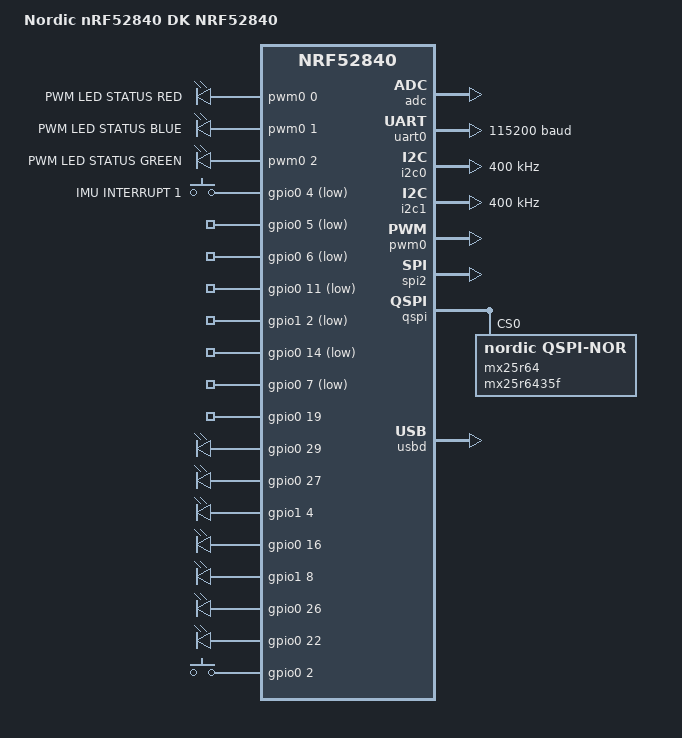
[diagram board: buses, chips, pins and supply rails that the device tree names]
/*
 * Copyright (c) 2017 Linaro Limited
 *
 * SPDX-License-Identifier: Apache-2.0
 */

/dts-v1/;
#include <nordic/nrf52840_qiaa.dtsi>
#include "nrf52840dk_nrf52840-pinctrl.dtsi"
#include <zephyr/dt-bindings/input/input-event-codes.h>

/ {
	model = "Nordic nRF52840 DK NRF52840";
	compatible = "nordic,nrf52840-dk-nrf52840";

	chosen {
		zephyr,console = &uart0;
		zephyr,shell-uart = &uart0;
		zephyr,uart-mcumgr = &uart0;
		zephyr,bt-mon-uart = &uart0;
		zephyr,bt-c2h-uart = &uart0;
		zephyr,sram = &sram0;
		zephyr,flash = &flash0;
		zephyr,code-partition = &slot0_partition;
		zephyr,ieee802154 = &ieee802154;
	};

	pwmleds {
		compatible = "pwm-leds";
		pwm_led0: pwm_led0 {
			pwms = <&pwm0 0 PWM_KHZ(10) PWM_POLARITY_NORMAL>;
			label = "PWM LED STATUS RED";
		};

		pwm_led1: pwm_led1 {
			pwms = <&pwm0 1 PWM_KHZ(10) PWM_POLARITY_NORMAL>;
			label = "PWM LED STATUS BLUE";
		};

		pwm_led2: pwm_led2 {
			pwms = <&pwm0 2 PWM_KHZ(10) PWM_POLARITY_NORMAL>;
			label = "PWM LED STATUS GREEN";
		};
	};

	interrupts {
		compatible = "gpio-keys";

		imu_int_1: imu_int_1 {
			gpios =  <&gpio0 4 (GPIO_PULL_UP | GPIO_ACTIVE_LOW)>;
			label = "IMU INTERRUPT 1";
		};

		body_temp_1_alert: body_temp_1_alert {
			gpios =  <&gpio0 5 (GPIO_PULL_UP | GPIO_ACTIVE_LOW)>;
			label = "";
		};

		body_temp_2_alert: body_temp_2_alert {
			gpios =  <&gpio0 6 (GPIO_PULL_UP | GPIO_ACTIVE_LOW)>;
			label = "";
		};

		body_temp_3_alert: body_temp_3_alert {
			gpios =  <&gpio0 11 (GPIO_PULL_UP | GPIO_ACTIVE_LOW)>;
			label = "";
		};

		body_temp_4_alert: body_temp_4_alert {
			gpios =  <&gpio1 2 (GPIO_PULL_UP | GPIO_ACTIVE_LOW)>;
			label = "";
		};

		amb_temp_alert: amb_temp_alert {
			gpios =  <&gpio0 14 (GPIO_PULL_UP | GPIO_ACTIVE_LOW)>;
			label = "";
		};

		ppg_int: ppg_int {
			gpios =  <&gpio0 7 (GPIO_PULL_UP | GPIO_ACTIVE_LOW)>;
			label = "";
		};

		charge_pgood: charge_pgood {
			gpios =  <&gpio0 19 (GPIO_PULL_UP | GPIO_ACTIVE_HIGH)>;
			label = "";
		};
	};

	misc_pin{
		compatible = "gpio-leds";
		
		mcu_pwr_en: mcu_pwr_en {
			gpios =  <&gpio0 29 GPIO_ACTIVE_HIGH>;
			label = "";
		};

		system_pwr_en: system_pwr_en {
			gpios =  <&gpio0 27 GPIO_ACTIVE_HIGH>;
			label = "";
		};

		sensor_pwr_en: sensor_pwr_en {
			gpios =  <&gpio1 4 GPIO_ACTIVE_HIGH>;
			label = "";
		};

		i2c_buffer_en: i2c_buffer_en {
			gpios =  <&gpio0 16 GPIO_ACTIVE_HIGH>;
			label = "";
		};

		logic_ser_pwr_en: logic_ser_pwr_en {
			gpios =  <&gpio1 8 GPIO_ACTIVE_HIGH>;
			label = "";
		};

		oled_pwr_en: oled_pwr_en {
			gpios =  <&gpio0 26 GPIO_ACTIVE_HIGH>;
			label = "";
		};

		ppg_spi_cs: ppg_spi_cs {
			gpios =  <&gpio0 22 GPIO_ACTIVE_HIGH>;
			label = "";
		};
	};

	buttons {
		compatible = "gpio-keys";
		button_pwr_switch_detect: button_pwr_switch_detect {
			gpios = <&gpio0 2 (GPIO_PULL_UP | GPIO_ACTIVE_HIGH)>;
			label = "";
		};
	};

	/* These aliases are provided for compatibility with samples */
	aliases {
		led-status-red   = &pwm_led0;
		led-status-green = &pwm_led1;
		led-status-blue  = &pwm_led2;

		button-pwr-switch-detect = &button_pwr_switch_detect;
		imu-int-1         = &imu_int_1;
		body-temp-1-alert = &body_temp_1_alert;
		body-temp-2-alert = &body_temp_2_alert;
		body-temp-3-alert = &body_temp_3_alert;
		body-temp-4-alert = &body_temp_4_alert;
		amb-temp-alert    = &amb_temp_alert;
		ppg-int           = &ppg_int;
		charge-pgood      = &charge_pgood;

		mcu-pwr-en       = &mcu_pwr_en;
		system-pwr-en    = &system_pwr_en;
		sensor-pwr-en    = &sensor_pwr_en ;
		i2c-buffer-en    = &i2c_buffer_en ;
		logic-ser-pwr-en = &logic_ser_pwr_en;
		oled-pwr-en      = &oled_pwr_en;
		ppg-spi-cs       = &ppg_spi_cs;
	};
};

&adc {
	status = "okay";
};

&uicr {
	gpio-as-nreset;
};

&gpiote {
	status = "okay";
};

&gpio0 {
	status = "okay";
};

&gpio1 {
	status = "okay";
};

&uart0 {
	compatible = "nordic,nrf-uarte";
	status = "okay";
	current-speed = <115200>;
	pinctrl-0 = <&uart0_default>;
	pinctrl-1 = <&uart0_sleep>;
	pinctrl-names = "default", "sleep";
};

&i2c0 {
	compatible = "nordic,nrf-twim";
	status = "okay";
	pinctrl-0 = <&i2c0_default>;
	pinctrl-1 = <&i2c0_sleep>;	
	pinctrl-names = "default", "sleep";
	clock-frequency = <I2C_BITRATE_FAST>;
	zephyr,concat-buf-size = <1024>;
};

&i2c1 {
	compatible = "nordic,nrf-twim";
	status = "okay";
	pinctrl-0 = <&i2c1_default>;
	pinctrl-1 = <&i2c1_sleep>;	
	pinctrl-names = "default", "sleep";
	clock-frequency = <I2C_BITRATE_FAST>;
	zephyr,concat-buf-size = <1024>;
};

&pwm0 {
	status = "okay";
	pinctrl-0 = <&pwm0_default>;
	pinctrl-1 = <&pwm0_sleep>;
	pinctrl-names = "default", "sleep";
};

&spi2 {
	compatible = "nordic,nrf-spi";
	status = "okay";
	pinctrl-0 = <&spi2_default>;
	pinctrl-1 = <&spi2_sleep>;
	pinctrl-names = "default", "sleep";
};

&qspi {
	status = "okay";
	pinctrl-0 = <&qspi_default>;
	pinctrl-1 = <&qspi_sleep>;
	pinctrl-names = "default", "sleep";
	mx25r64: mx25r6435f@0 {
		compatible = "nordic,qspi-nor";
		reg = <0>;
		/* MX25R64 supports only pp and pp4io */
		writeoc = "pp4io";
		/* MX25R64 supports all readoc options */
		readoc = "read4io";
		sck-frequency = <8000000>;
		jedec-id = [c2 28 17];
		sfdp-bfp = [
			e5 20 f1 ff  ff ff ff 03  44 eb 08 6b  08 3b 04 bb
			ee ff ff ff  ff ff 00 ff  ff ff 00 ff  0c 20 0f 52
			10 d8 00 ff  23 72 f5 00  82 ed 04 cc  44 83 68 44
			30 b0 30 b0  f7 c4 d5 5c  00 be 29 ff  f0 d0 ff ff
		];
		size = <67108864>;
		has-dpd;
		t-enter-dpd = <10000>;
		t-exit-dpd = <35000>;
	};
};

&flash0 {

	partitions {
		compatible = "fixed-partitions";
		#address-cells = <1>;
		#size-cells = <1>;

		boot_partition: partition@0 {
			label = "mcuboot";
			reg = <0x00000000 0x0000C000>;
		};
		slot0_partition: partition@c000 {
			label = "image-0";
			reg = <0x0000C000 0x00067000>;
		};
		slot1_partition: partition@73000 {
			label = "image-1";
			reg = <0x00073000 0x00067000>;
		};
		scratch_partition: partition@da000 {
			label = "image-scratch";
			reg = <0x000da000 0x0001e000>;
		};

		/*
		 * The flash starting at 0x000f8000 and ending at
		 * 0x000fffff is reserved for use by the application.
		 */

		/*
		 * Storage partition will be used by FCB/LittleFS/NVS
		 * if enabled.
		 */
		storage_partition: partition@f8000 {
			label = "storage";
			reg = <0x000f8000 0x00008000>;
		};
	};
};

zephyr_udc0: &usbd {
	compatible = "nordic,nrf-usbd";
	status = "okay";
};

